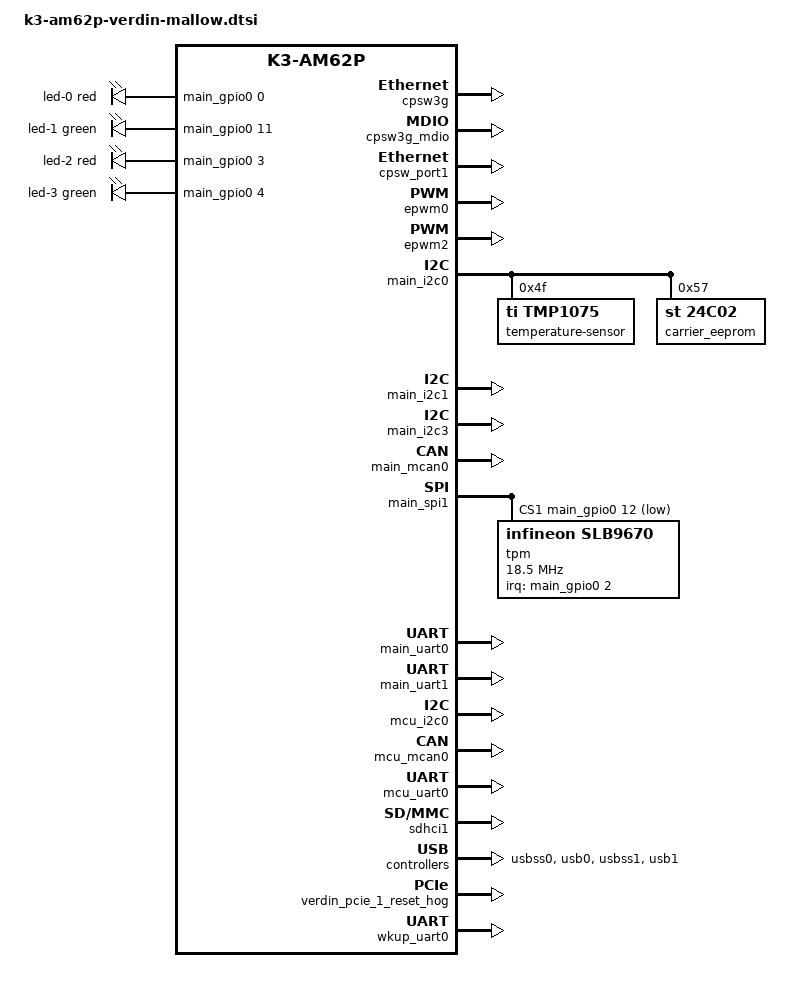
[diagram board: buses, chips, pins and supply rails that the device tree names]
// SPDX-License-Identifier: GPL-2.0-or-later OR MIT
/*
 * Copyright 2025 Toradex
 *
 * Common dtsi for Verdin AM62P SoM on Mallow carrier board
 *
 * https://www.toradex.com/computer-on-modules/verdin-arm-family/ti-am62p
 * https://www.toradex.com/products/carrier-board/mallow-carrier-board
 */

#include <dt-bindings/leds/common.h>

/ {
	aliases {
		eeprom1 = &carrier_eeprom;
	};

	leds {
		compatible = "gpio-leds";
		pinctrl-names = "default";
		pinctrl-0 = <&pinctrl_qspi1_clk_gpio>,
			    <&pinctrl_qspi1_cs_gpio>,
			    <&pinctrl_qspi1_io0_gpio>,
			    <&pinctrl_qspi1_io1_gpio>;

		/* SODIMM 52 - USER_LED_1_RED */
		led-0 {
			color = <LED_COLOR_ID_RED>;
			function = LED_FUNCTION_DEBUG;
			function-enumerator = <1>;
			gpios = <&main_gpio0 0 GPIO_ACTIVE_HIGH>;
		};

		/* SODIMM 54 - USER_LED_1_GREEN */
		led-1 {
			color = <LED_COLOR_ID_GREEN>;
			function = LED_FUNCTION_DEBUG;
			function-enumerator = <1>;
			gpios = <&main_gpio0 11 GPIO_ACTIVE_HIGH>;
		};

		/* SODIMM 56 - USER_LED_2_RED */
		led-2 {
			color = <LED_COLOR_ID_RED>;
			function = LED_FUNCTION_DEBUG;
			function-enumerator = <2>;
			gpios = <&main_gpio0 3 GPIO_ACTIVE_HIGH>;
		};

		/* SODIMM 58 - USER_LED_2_GREEN */
		led-3 {
			color = <LED_COLOR_ID_GREEN>;
			function = LED_FUNCTION_DEBUG;
			function-enumerator = <2>;
			gpios = <&main_gpio0 4 GPIO_ACTIVE_HIGH>;
		};
	};
};

/* Verdin ETHs */
&cpsw3g {
	status = "okay";
};

/* MDIO, shared by Verdin ETH_1 (On-module PHY) and Verdin ETH_2_RGMII */
&cpsw3g_mdio {
	status = "okay";
};

/* Verdin ETH_1 (On-module PHY) */
&cpsw_port1 {
	status = "okay";
};

/* Verdin PWM_3_DSI */
&epwm0 {
	status = "okay";
};

/* Verdin PWM_1, PWM_2 */
&epwm2 {
	status = "okay";
};

&main_gpio0 {
	pinctrl-names = "default";
	pinctrl-0 = <&pinctrl_pcie_1_reset>,
		    <&pinctrl_gpio_5>,
		    <&pinctrl_gpio_6>,
		    <&pinctrl_gpio_7>,
		    <&pinctrl_gpio_8>;
};

/* Verdin I2C_1 */
&main_i2c0 {
	status = "okay";

	temperature-sensor@4f {
		compatible = "ti,tmp1075";
		reg = <0x4f>;
	};

	carrier_eeprom: eeprom@57 {
		compatible = "st,24c02", "atmel,24c02";
		reg = <0x57>;
		pagesize = <16>;
	};
};

/* Verdin I2C_2_DSI */
&main_i2c1 {
	status = "okay";
};

/* Verdin I2C_4_CSI */
&main_i2c3 {
	status = "okay";
};

/* Verdin CAN_1 */
&main_mcan0 {
	status = "okay";
};

/* Verdin SPI_1 */
&main_spi1 {
	pinctrl-0 = <&pinctrl_main_spi1>,
		    <&pinctrl_main_spi1_cs0>,
		    <&pinctrl_qspi1_cs2_gpio>;
	cs-gpios = <0>, <&main_gpio0 12 GPIO_ACTIVE_LOW>;
	status = "okay";

	tpm@1 {
		compatible = "infineon,slb9670", "tcg,tpm_tis-spi";
		reg = <1>;
		pinctrl-names = "default";
		pinctrl-0 = <&pinctrl_qspi1_dqs_gpio>;
		interrupt-parent = <&main_gpio0>;
		interrupts = <2 IRQ_TYPE_EDGE_FALLING>;
		spi-max-frequency = <18500000>;
	};
};

/* Verdin UART_3, used as the Linux console */
&main_uart0 {
	status = "okay";
};

/* Verdin UART_1 */
&main_uart1 {
	status = "okay";
};

&mcu_gpio0 {
	pinctrl-names = "default";
	pinctrl-0 = <&pinctrl_gpio_1>,
		    <&pinctrl_gpio_2>,
		    <&pinctrl_gpio_3>,
		    <&pinctrl_gpio_4>;
};

/* Verdin I2C_3_HDMI */
&mcu_i2c0 {
	status = "okay";
};

/* Verdin CAN_2 */
&mcu_mcan0 {
	status = "okay";
};

/* Verdin UART_4 */
&mcu_uart0 {
	status = "okay";
};

/* Verdin SD_1 */
&sdhci1 {
	status = "okay";
};

/* Verdin USB_1 */
&usbss0 {
	status = "okay";
};

&usb0 {
	status = "okay";
};

/* Verdin USB_2 */
&usbss1 {
	status = "okay";
};

&usb1 {
	status = "okay";
};

/* Verdin CTRL_WAKE1_MICO# */
&verdin_gpio_keys {
	status = "okay";
};

/* Verdin PCIE_1_RESET# */
&verdin_pcie_1_reset_hog {
	status = "okay";
};

/* Verdin UART_2 */
&wkup_uart0 {
	status = "okay";
};
